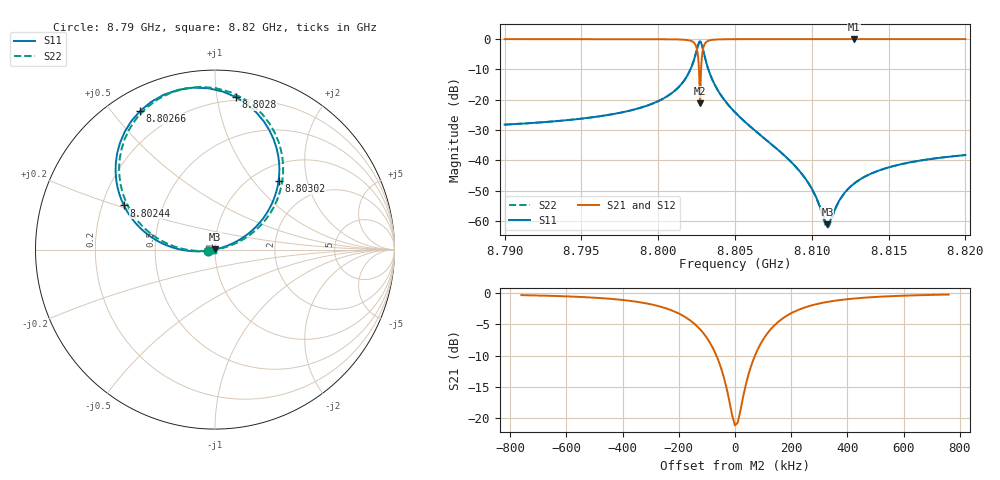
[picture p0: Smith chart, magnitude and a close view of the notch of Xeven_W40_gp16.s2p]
! Sonnet Data File
! From: emgraph Version : 16.52
! From Project: Qubit_Test_beforeopt
! Data is De-embedded
! Data File Written: 10/18/2017 16:57:23
!< HDATE 10/18/2017 09:03:38
!< MDATE 10/18/2017 09:03:38
!< PARAMS
!< Lj = 11.0
!< Gap = 16.0
!< Pwid = 2000.0
!< Airgap = 24.0
!< Width = 40.0
!< END PARAMS
# GHZ S MA R 51.80000
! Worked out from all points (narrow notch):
!   3001 points, 8.79 GHz to 8.82 GHz, reference 51.8 ohm
!   highest |S21| = 0.00 dB at 8.81274 GHz (marker M1); lowest = -21.1 dB at 8.80272 GHz (marker M2)
!   notch at M2: 21.1 dB deep, 127 kHz wide at half that depth
!   lowest |S11| = -61.0 dB at 8.81102 GHz (marker M3), VSWR 1.00, Z = 51.8 + j0.0903 ohm
!   |S11| at or under -10 dB: start of sweep to 8.802098 GHz; 8.803265 GHz to end of sweep
!   |S22| runs from -62.1 to -0.8 dB; largest |S21 - S12| = 0
!   S11 on the Smith chart (normalised r, x): 8.79 GHz: 0.93, -0.01; 8.80244 GHz: 0.29, +0.21; 8.80266 GHz: 0.09, +0.59; 8.8028 GHz: 0.18, +1.13; 8.80302 GHz: 1.30, +1.36; 8.82 GHz: 0.98, -0.00
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8.79  0.03892 -171.3  0.9992 -81.3  0.9992 -81.3  0.03892 -171.4
!< P1 F=8.79 Eeff=(6.4425964 -3.0761e-5) Z0=(50.47845 1.09247e-4) R=0.0 C=0.0
!< P2 F=8.79 Eeff=(6.4425964 -3.0761e-5) Z0=(50.47845 1.09247e-4) R=0.0 C=0.0
8.795  0.04885 -171.7  0.9987 -81.9  0.9987 -81.9  0.04885 -172.3
8.8  0.09495 -174.1  0.995 -84.6  0.995 -84.6  0.09494 -175.7
8.80194  0.2623 175.5  0.9593 -94.4  0.9593 -94.4  0.2622 173.2
8.80225  0.3951 166.6  0.9041 -102.5  0.9041 -102.5  0.395 164.2
8.80244  0.5642 154.1  0.7908 -113.5  0.7908 -113.5  0.5641 151.7
8.80256  0.7336 138.9  0.6031 -126.0  0.6031 -126.0  0.7335 136.4
8.80266  0.878 118.4  0.2923 -136.6  0.2923 -136.6  0.8778 115.8
8.80272  0.9135 102.9  0.08762 -87.6  0.08762 -87.6  0.9133 100.3
8.8028  0.8575 82.2  0.3505 -22.8  0.3505 -22.8  0.8574 79.6
8.80291  0.6798 60.5  0.668 -36.7  0.668 -36.7  0.6797 57.8
8.80302  0.5204 47.1  0.821 -47.9  0.821 -47.9  0.5204 44.4
8.80322  0.3425 34.5  0.926 -59.2  0.926 -59.2  0.3424 31.6
8.80352  0.2154 26.2  0.971 -66.8  0.971 -66.8  0.2154 23.2
8.805  0.0622 17.0  0.9974 -75.7  0.9974 -75.7  0.06218 12.9
8.80862  0.009646 18.2  0.9998 -78.7  0.9998 -78.7  0.009628 5.6
8.81  0.003431 27.5  0.9999 -79.1  0.9999 -79.1  0.003396 -3.4
8.81102  0.000891 101.8  0.9999 -79.3  0.9999 -79.3  0.0007812 -80.3
8.81188  0.002381 170.1  1 -79.4  1 -79.4  0.002349 -151.0
8.81274  0.00414 179.6  1 -79.5  1 -79.5  0.004124 -159.7
8.815  0.007691 -174.9  0.9999 -79.8  0.9999 -79.8  0.007686 -165.0
8.82  0.01229 -172.7  0.9999 -80.1  0.9999 -80.1  0.01229 -167.5
